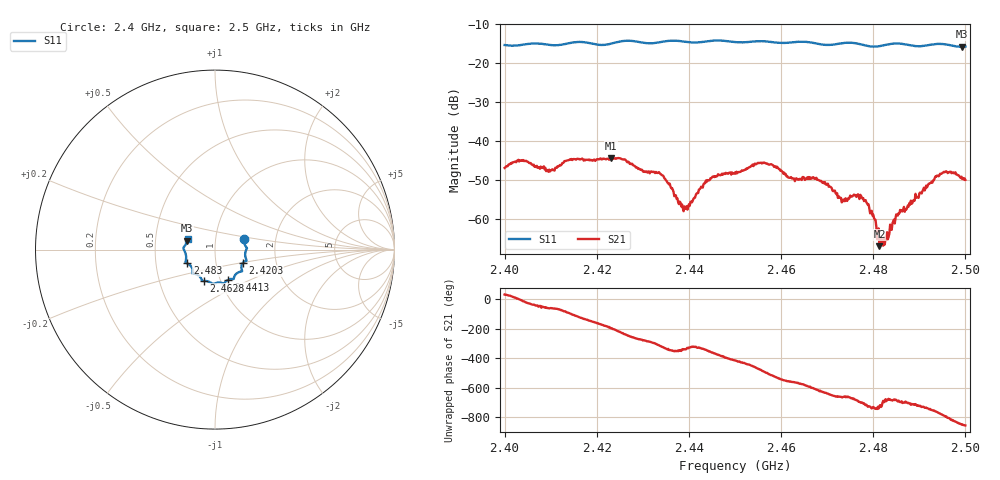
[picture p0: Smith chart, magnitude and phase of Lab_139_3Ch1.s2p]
# Hz S RI R 50
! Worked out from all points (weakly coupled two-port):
!   601 points, 2.4 GHz to 2.5 GHz, reference 50 ohm
!   highest |S21| = -44.30 dB at 2.4232 GHz (marker M1); lowest = -66.9 dB at 2.4813 GHz (marker M2)
!   lowest |S11| = -15.8 dB at 2.4993 GHz (marker M3), VSWR 1.39, Z = 36.5 + j3.71 ohm
!   |S11| at or under -10 dB: start of sweep to end of sweep
!   S12 and S22 are empty: the file has one direction only
!   S11 on the Smith chart (normalised r, x): 2.4 GHz: 1.37, +0.16; 2.4203 GHz: 1.35, -0.21; 2.4413 GHz: 1.09, -0.38; 2.4628 GHz: 0.83, -0.30; 2.483 GHz: 0.72, -0.11; 2.5 GHz: 0.73, +0.09
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2.4e9  0.1607 0.0571  0.00383 0.00242  0 0  0 0
2.4095e9  0.1721 -0.00578  0.00197 -0.00353  0 0  0 0
2.416667e9  0.1761 -0.0615  -0.0035 -0.00475  0 0  0 0
2.420333e9  0.1552 -0.0739  -0.00563 -0.00155  0 0  0 0
2.423167e9  0.1469 -0.1008  -0.00579 0.0019  0 0  0 0
2.433333e9  0.1081 -0.1485  0.00257 0.00299  0 0  0 0
2.438833e9  0.0948 -0.1634  0.0012 0.000394  0 0  0 0
2.441333e9  0.0744 -0.1679  0.00153 0.00111  0 0  0 0
2.445167e9  0.052 -0.1868  0.00351 -0.000148  0 0  0 0
2.45e9  0.0292 -0.1838  0.00227 -0.00326  0 0  0 0
2.456167e9  -0.0126 -0.1902  -0.00332 -0.00405  0 0  0 0
2.462833e9  -0.0629 -0.1747  -0.00304 0.00131  0 0  0 0
2.466667e9  -0.0742 -0.1676  -0.00158 0.00301  0 0  0 0
2.473333e9  -0.1202 -0.1344  0.001 0.00135  0 0  0 0
2.477667e9  -0.1242 -0.1193  0.00176 0.00052  0 0  0 0
2.481333e9  -0.1414 -0.0851  0.000446 -5.38e-05  0 0  0 0
2.483e9  -0.1547 -0.0767  0.000552 0.000396  0 0  0 0
2.483333e9  -0.1569 -0.0758  0.00043 0.000406  0 0  0 0
2.4855e9  -0.1639 -0.0698  0.00102 0.000619  0 0  0 0
2.494e9  -0.1761 0.00633  0.00235 -0.00274  0 0  0 0
2.499333e9  -0.1542 0.0495  -0.00209 -0.0025  0 0  0 0
2.5e9  -0.1524 0.0584  -0.00237 -0.00214  0 0  0 0
